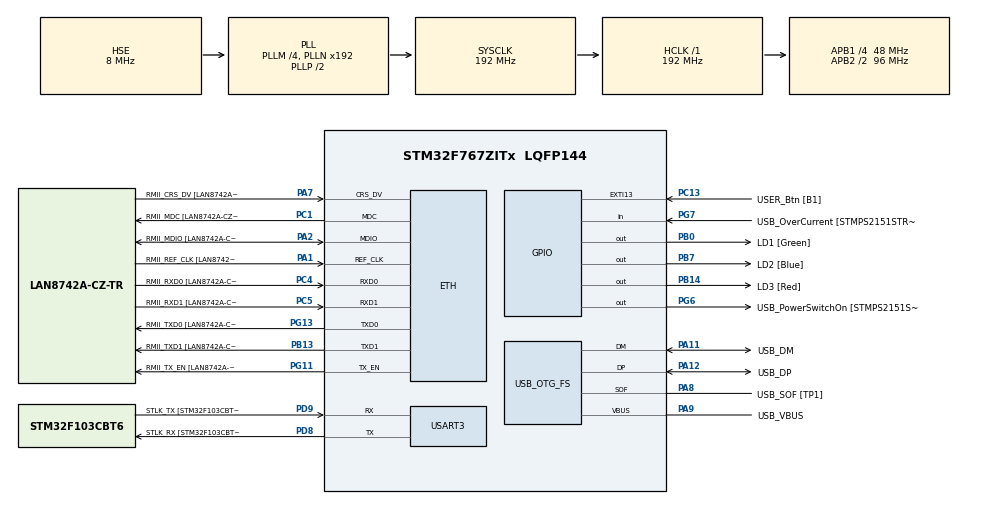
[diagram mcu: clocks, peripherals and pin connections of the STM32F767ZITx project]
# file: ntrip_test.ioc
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CORTEX_M7.FlashInterface=AXI_Enabled
ETH.MediaInterface=HAL_ETH_RMII_MODE
ETH.PHY_Name=LAN8742A_PHY_ADDRESS
ETH.PHY_Value=0
ETH.PhyAddress=0
FREERTOS.BinarySemaphores01=NtripChange,Dynamic,NULL
FREERTOS.Tasks01=start_task,1,128,startup,Default,NULL,Static,start_taskBuffer,start_taskControlBlock
FREERTOS.configENABLE_FPU=1
FREERTOS.configTOTAL_HEAP_SIZE=81920
FREERTOS.configUSE_NEWLIB_REENTRANT=1
LWIP.BSP.number=1
LWIP.CMSIS_VERSION-Enabled=1
LWIP.Version=v2.1.2_Cube
LWIP0.BSP.STBoard=false
LWIP0.BSP.api=BSP_COMPONENT_DRIVER
LWIP0.BSP.component=LAN8742
LWIP0.BSP.instance=LAN8742
LWIP0.BSP.name=Driver_PHY
LWIP0.BSP.semaphore=S_LAN8742
LWIP0.BSP.solution=LAN8742
Mcu.Family=STM32F7
Mcu.Name=STM32F767ZITx
Mcu.Package=LQFP144
NVIC.ETH_IRQn=true\:6\:0\:true\:false\:true\:true\:true\:true\:true
NVIC.EXTI15_10_IRQn=true\:5\:0\:false\:false\:true\:true\:true\:true\:true
NVIC.PriorityGroup=NVIC_PRIORITYGROUP_4
NVIC.TIM8_TRG_COM_TIM14_IRQn=true\:5\:0\:true\:false\:true\:false\:false\:true\:true
NVIC.TimeBase=TIM8_TRG_COM_TIM14_IRQn
NVIC.TimeBaseIP=TIM14
PA1.GPIO_Label=RMII_REF_CLK [LAN8742A-CZ-TR_REFCLK0]
PA1.Mode=RMII
PA1.Signal=ETH_REF_CLK
PA10.GPIO_Label=USB_ID
PA10.Signal=USB_OTG_FS_ID
PA11.GPIO_Label=USB_DM
PA11.Mode=Device_Only
PA11.Signal=USB_OTG_FS_DM
PA12.GPIO_Label=USB_DP
PA12.Mode=Device_Only
PA12.Signal=USB_OTG_FS_DP
PA13.GPIO_Label=TMS
PA13.Mode=Serial_Wire
PA13.Signal=SYS_JTMS-SWDIO
PA14.GPIO_Label=TCK
PA14.Mode=Serial_Wire
PA14.Signal=SYS_JTCK-SWCLK
PA2.GPIO_Label=RMII_MDIO [LAN8742A-CZ-TR_MDIO]
PA2.Mode=RMII
PA2.Signal=ETH_MDIO
PA7.GPIO_Label=RMII_CRS_DV [LAN8742A-CZ-TR_CRS_DV]
PA7.Mode=RMII
PA7.Signal=ETH_CRS_DV
PA8.GPIO_Label=USB_SOF [TP1]
PA8.Mode=Activate_SOF_FS
PA8.Signal=USB_OTG_FS_SOF
PA9.GPIO_Label=USB_VBUS
PA9.Mode=Activate_VBUS
PA9.Signal=USB_OTG_FS_VBUS
PB0.GPIO_Label=LD1 [Green]
PB0.Signal=GPIO_Output
PB13.GPIO_Label=RMII_TXD1 [LAN8742A-CZ-TR_TXD1]
PB13.Mode=RMII
PB13.Signal=ETH_TXD1
PB14.GPIO_Label=LD3 [Red]
PB14.Signal=GPIO_Output
PB3.GPIO_Label=SWO
PB3.Signal=SYS_JTDO-SWO
PB7.GPIO_Label=LD2 [Blue]
PB7.Signal=GPIO_Output
PC1.GPIO_Label=RMII_MDC [LAN8742A-CZ-TR_MDC]
PC1.Mode=RMII
PC1.Signal=ETH_MDC
PC13.GPIO_Label=USER_Btn [B1]
PC13.Signal=GPXTI13
PC14/OSC32_IN.Mode=LSE-External-Oscillator
PC14/OSC32_IN.Signal=RCC_OSC32_IN
PC15/OSC32_OUT.Mode=LSE-External-Oscillator
PC15/OSC32_OUT.Signal=RCC_OSC32_OUT
PC4.GPIO_Label=RMII_RXD0 [LAN8742A-CZ-TR_RXD0]
PC4.Mode=RMII
PC4.Signal=ETH_RXD0
PC5.GPIO_Label=RMII_RXD1 [LAN8742A-CZ-TR_RXD1]
PC5.Mode=RMII
PC5.Signal=ETH_RXD1
PD8.GPIO_Label=STLK_RX [STM32F103CBT6_PA3]
PD8.Mode=Asynchronous
PD8.Signal=USART3_TX
PD9.GPIO_Label=STLK_TX [STM32F103CBT6_PA2]
PD9.Mode=Asynchronous
PD9.Signal=USART3_RX
PG11.GPIO_Label=RMII_TX_EN [LAN8742A-CZ-TR_TXEN]
PG11.Mode=RMII
PG11.Signal=ETH_TX_EN
PG13.GPIO_Label=RMII_TXD0 [LAN8742A-CZ-TR_TXD0]
PG13.Mode=RMII
PG13.Signal=ETH_TXD0
PG6.GPIO_Label=USB_PowerSwitchOn [STMPS2151STR_EN]
PG6.Signal=GPIO_Output
PG7.GPIO_Label=USB_OverCurrent [STMPS2151STR_FAULT]
PG7.Signal=GPIO_Input
PH0/OSC_IN.GPIO_Label=MCO [STM32F103CBT6_PA8]
PH0/OSC_IN.Mode=HSE-External-Clock-Source
PH0/OSC_IN.Signal=RCC_OSC_IN
PH1/OSC_OUT.Mode=HSE-External-Clock-Source
PH1/OSC_OUT.Signal=RCC_OSC_OUT
ProjectManager.HeapSize=0x200
ProjectManager.StackSize=0x400
ProjectManager.TargetToolchain=STM32CubeIDE
RCC.48MHZClocksFreq_Value=24000000
RCC.AHBFreq_Value=192000000
RCC.APB1CLKDivider=RCC_HCLK_DIV4
RCC.APB1Freq_Value=48000000
RCC.APB1TimFreq_Value=96000000
RCC.APB2CLKDivider=RCC_HCLK_DIV2
RCC.APB2Freq_Value=96000000
RCC.APB2TimFreq_Value=192000000
RCC.CortexFreq_Value=192000000
RCC.HCLKFreq_Value=192000000
RCC.HSE_VALUE=8000000
RCC.HSI_VALUE=16000000
RCC.PLLM=4
RCC.PLLMUL=RCC_PLL_MUL9
RCC.PLLQ=8
RCC.PRESCALERUSB=RCC_USBCLKSOURCE_PLL_DIV1_5
RCC.SYSCLKFreq_VALUE=192000000
RCC.SYSCLKSource=RCC_SYSCLKSOURCE_PLLCLK
RCC.SYSCLKSourceVirtual=RCC_SYSCLKSOURCE_PLLCLK
RCC.USBFreq_Value=48000000
RCC.VCOOutputFreq_Value=384000000
USART3.VirtualMode-Asynchronous=VM_ASYNC
USB_OTG_FS.VirtualMode=Device_Only
VP_CRC_VS_CRC.Mode=CRC_Activate
VP_FREERTOS_VS_CMSIS_V1.Mode=CMSIS_V1
VP_LWIP_VS_Enabled.Mode=Enabled
VP_SYS_VS_tim14.Mode=TIM14
board=NUCLEO-F767ZI

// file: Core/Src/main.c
/* USER CODE BEGIN Header */
/**
  ******************************************************************************
  * @file           : main.c
  * @brief          : Main program body
  ******************************************************************************
  * @attention
  *
  * Copyright (c) 2023 STMicroelectronics.
  * All rights reserved.
  *
  * This software is licensed under terms that can be found in the LICENSE file
  * in the root directory of this software component.
  * If no LICENSE file comes with this software, it is provided AS-IS.
  *
  ******************************************************************************
  */
/* USER CODE END Header */
#include "main.h"
#include "cmsis_os.h"
#include "crc.h"
#include "lwip.h"
#include "usart.h"
#include "usb_otg.h"
#include "gpio.h"

void SystemClock_Config(void);
void MX_FREERTOS_Init(void);

int main(void)
{

  /* MCU Configuration--------------------------------------------------------*/

  /* Reset of all peripherals, Initializes the Flash interface and the Systick. */
  HAL_Init();

  /* Configure the system clock */
  SystemClock_Config();

  /* Initialize all configured peripherals */
  MX_GPIO_Init();
  MX_USART3_UART_Init();
  MX_USB_OTG_FS_PCD_Init();
  MX_CRC_Init();

  /* Call init function for freertos objects (in freertos.c) */
  MX_FREERTOS_Init();

  /* Start scheduler */
  osKernelStart();
  /* We should never get here as control is now taken by the scheduler */
  /* Infinite loop */
  while (1)
  {

  }
}

void SystemClock_Config(void)
{
  RCC_OscInitTypeDef RCC_OscInitStruct = {0};
  RCC_ClkInitTypeDef RCC_ClkInitStruct = {0};

  /** Configure LSE Drive Capability
  */
  HAL_PWR_EnableBkUpAccess();

  /** Configure the main internal regulator output voltage
  */
  __HAL_RCC_PWR_CLK_ENABLE();
  __HAL_PWR_VOLTAGESCALING_CONFIG(PWR_REGULATOR_VOLTAGE_SCALE1);

  /** Initializes the RCC Oscillators according to the specified parameters
  * in the RCC_OscInitTypeDef structure.
  */
  RCC_OscInitStruct.OscillatorType = RCC_OSCILLATORTYPE_HSE;
  RCC_OscInitStruct.HSEState = RCC_HSE_BYPASS;
  RCC_OscInitStruct.PLL.PLLState = RCC_PLL_ON;
  RCC_OscInitStruct.PLL.PLLSource = RCC_PLLSOURCE_HSE;
  RCC_OscInitStruct.PLL.PLLM = 4;
  RCC_OscInitStruct.PLL.PLLN = 192;
  RCC_OscInitStruct.PLL.PLLP = RCC_PLLP_DIV2;
  RCC_OscInitStruct.PLL.PLLQ = 8;
  RCC_OscInitStruct.PLL.PLLR = 2;
  if (HAL_RCC_OscConfig(&RCC_OscInitStruct) != HAL_OK)
  {
    Error_Handler();
  }

  /** Activate the Over-Drive mode
  */
  if (HAL_PWREx_EnableOverDrive() != HAL_OK)
  {
    Error_Handler();
  }

  /** Initializes the CPU, AHB and APB buses clocks
  */
  RCC_ClkInitStruct.ClockType = RCC_CLOCKTYPE_HCLK|RCC_CLOCKTYPE_SYSCLK
                              |RCC_CLOCKTYPE_PCLK1|RCC_CLOCKTYPE_PCLK2;
  RCC_ClkInitStruct.SYSCLKSource = RCC_SYSCLKSOURCE_PLLCLK;
  RCC_ClkInitStruct.AHBCLKDivider = RCC_SYSCLK_DIV1;
  RCC_ClkInitStruct.APB1CLKDivider = RCC_HCLK_DIV4;
  RCC_ClkInitStruct.APB2CLKDivider = RCC_HCLK_DIV2;

  if (HAL_RCC_ClockConfig(&RCC_ClkInitStruct, FLASH_LATENCY_6) != HAL_OK)
  {
    Error_Handler();
  }
}

/* USER CODE BEGIN 4 */
int __io_putchar(int ch)
{
 // Write character to ITM ch.0
 ITM_SendChar(ch);
 return(ch);
}
/* USER CODE END 4 */

void HAL_TIM_PeriodElapsedCallback(TIM_HandleTypeDef *htim)
{
  if (htim->Instance == TIM14) {
    HAL_IncTick();
  }
}

void Error_Handler(void)
{
  __disable_irq();
  while (1)
  {
  }
}

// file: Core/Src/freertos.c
/* USER CODE BEGIN Header */
/**
  ******************************************************************************
  * File Name          : freertos.c
  * Description        : Code for freertos applications
  ******************************************************************************
  * @attention
  *
  * Copyright (c) 2023 STMicroelectronics.
  * All rights reserved.
  *
  * This software is licensed under terms that can be found in the LICENSE file
  * in the root directory of this software component.
  * If no LICENSE file comes with this software, it is provided AS-IS.
  *
  ******************************************************************************
  */
/* USER CODE END Header */

#include "FreeRTOS.h"
#include "task.h"
#include "main.h"
#include "cmsis_os.h"

/* USER CODE BEGIN Includes */
#include "api.h"
#include "dhcp.h"
#include "netif.h"
#include "ntrip.h"
#include <stdio.h>
/* USER CODE END Includes */

/* USER CODE BEGIN Variables */
extern struct netif gnetif;  // lwip.c
extern UART_HandleTypeDef huart3; // usart.c

/******************************Configurations**********************************/
uint8_t pui8IpAddr[4] = {192, 168, 10, 102};
uint16_t ui16Port = 2101;
uint16_t ui16LocalPort = 12345;
char sMountpoint[20] = "TEST";
char sUsername[20] = "username";
char sPassword[20] = "password";
/******************************Configurations*END******************************/
uint8_t bNtripRun = 1;
uint8_t pui8Data[1024] = {0};
uint8_t ui8DataLength = 0;

osThreadId ntripHandle;
osThreadId blinkHandle;

/* USER CODE END Variables */
osThreadId start_taskHandle;
uint32_t start_taskBuffer[ 128 ];
osStaticThreadDef_t start_taskControlBlock;
osSemaphoreId NtripChangeHandle;

/* USER CODE BEGIN FunctionPrototypes */
void ntrip_process(void const * argument);
void blink_process(void const * argument);

/* USER CODE END FunctionPrototypes */

void startup(void const * argument);

extern void MX_LWIP_Init(void);
void MX_FREERTOS_Init(void); /* (MISRA C 2004 rule 8.1) */

/* GetIdleTaskMemory prototype (linked to static allocation support) */
void vApplicationGetIdleTaskMemory( StaticTask_t **ppxIdleTaskTCBBuffer, StackType_t **ppxIdleTaskStackBuffer, uint32_t *pulIdleTaskStackSize );

/* USER CODE BEGIN GET_IDLE_TASK_MEMORY */
static StaticTask_t xIdleTaskTCBBuffer;
static StackType_t xIdleStack[configMINIMAL_STACK_SIZE];

void vApplicationGetIdleTaskMemory( StaticTask_t **ppxIdleTaskTCBBuffer, StackType_t **ppxIdleTaskStackBuffer, uint32_t *pulIdleTaskStackSize )
{
  *ppxIdleTaskTCBBuffer = &xIdleTaskTCBBuffer;
  *ppxIdleTaskStackBuffer = &xIdleStack[0];
  *pulIdleTaskStackSize = configMINIMAL_STACK_SIZE;
  /* place for user code */
}
/* USER CODE END GET_IDLE_TASK_MEMORY */

void MX_FREERTOS_Init(void) {

  /* Create the semaphores(s) */
  /* definition and creation of NtripChange */
  osSemaphoreDef(NtripChange);
  NtripChangeHandle = osSemaphoreCreate(osSemaphore(NtripChange), 1);

  /* Create the thread(s) */
  /* definition and creation of start_task */
  osThreadStaticDef(start_task, startup, osPriorityAboveNormal, 0, 128, start_taskBuffer, &start_taskControlBlock);
  start_taskHandle = osThreadCreate(osThread(start_task), NULL);

}

void startup(void const * argument)
{
  /* init code for LWIP */
  MX_LWIP_Init();
  /* USER CODE BEGIN startup */
  while (!dhcp_supplied_address(&gnetif))
  {
    HAL_GPIO_WritePin(GPIOB, LD3_Pin, GPIO_PIN_SET);
    osDelay(1000);
  }
  HAL_GPIO_WritePin(GPIOB, LD3_Pin, GPIO_PIN_RESET);

  int32_t i32SemaphoreStatus = osOK;

  /* Infinite loop */
  for(;;)
  {
    i32SemaphoreStatus = osSemaphoreWait(NtripChangeHandle, 10000);
    if (i32SemaphoreStatus == osOK)
    {
      if (bNtripRun == 0)
      {
	osThreadTerminate(blinkHandle);
	HAL_GPIO_WritePin(GPIOB, LD1_Pin, GPIO_PIN_RESET);
	HAL_GPIO_WritePin(GPIOB, LD2_Pin, GPIO_PIN_RESET);
	HAL_GPIO_WritePin(GPIOB, LD3_Pin, GPIO_PIN_RESET);
      }
      else
      {
	osThreadDef(ntrip, ntrip_process, osPriorityHigh, 0, 2048);
	ntripHandle = osThreadCreate(osThread(ntrip), NULL);
	osThreadDef(blink, blink_process, osPriorityNormal, 0, 128);
	blinkHandle = osThreadCreate(osThread(blink), NULL);
	HAL_GPIO_WritePin(GPIOB, LD1_Pin, GPIO_PIN_SET);
      }
    }
  }
  /* USER CODE END startup */
}

/* USER CODE BEGIN Application */
void ntrip_process(void const * argument)
{
  struct netconn* pxConn;
  struct netbuf* pxRxBuf;
  err_t xErr;

  ip_addr_t xLocalIp = gnetif.ip_addr;
  char* sLocalIp = ipaddr_ntoa(&xLocalIp);
  ip_addr_t xServerIp;
  IP4_ADDR(&xServerIp, pui8IpAddr[0], pui8IpAddr[1], pui8IpAddr[2], pui8IpAddr[3]);

  pxConn = netconn_new(NETCONN_TCP);
  if (pxConn != NULL)
  {
    xErr = netconn_bind(pxConn, &xLocalIp, ui16LocalPort);
    if (xErr != ERR_OK)
    {
      printf("TCP bind err\n");
    }
    xErr = netconn_connect(pxConn, &xServerIp, ui16Port);
    if (xErr != ERR_OK)
    {
      printf("TCP Connect err\n");
    }

    ui8DataLength = sprintf((char*)pui8Data,
			    "GET /%s HTTP/1.1\r\n"
			    "Host: %s\r\n"
			    "NTRIP-Version: Ntrip/2.0\r\n"
			    "User-Agent: NTRIPstm32/TEST\r\n"
			    "Connection: close\r\n"
			    "Authorization: Basic ",
			    sMountpoint,
			    sLocalIp);
    ui8DataLength += encode((char*)pui8Data+ui8DataLength, 512-ui8DataLength-4, sUsername, sPassword);
    ui8DataLength += sprintf((char*)pui8Data+ui8DataLength, "\r\n\r\n");

    xErr = netconn_write(pxConn, (void*)pui8Data, ui8DataLength, NETCONN_COPY);
    if (xErr != ERR_OK)
    {
      printf("TCP write err\n");
    }
  }
  while(bNtripRun)
  {
    xErr = netconn_recv(pxConn, &pxRxBuf);
    if (xErr == ERR_OK)
    {
      do
      {
	HAL_UART_Transmit(&huart3, pxRxBuf->p->payload, pxRxBuf->p->len, 1000);
      }
      while (netbuf_next(pxRxBuf) >0);
      netbuf_delete(pxRxBuf);
      HAL_GPIO_TogglePin(GPIOB, LD2_Pin);
    }
    else
    {
      printf("receive err: %X", (int)xErr);
    }
  }
  netconn_close(pxConn);
  netconn_delete(pxConn);
  HAL_GPIO_WritePin(GPIOB, LD2_Pin, GPIO_PIN_RESET);
  osThreadTerminate(NULL);
}

void blink_process(void const * argument)
{
  while(1)
  {
    HAL_GPIO_TogglePin(GPIOB, LD3_Pin);
    osDelay(1000);
  }
}

void HAL_GPIO_EXTI_Callback(uint16_t GPIO_Pin)
{
  if (GPIO_Pin == USER_Btn_Pin)
  {
    if (bNtripRun)
      bNtripRun = 0;
    else
      bNtripRun = 1;
    osSemaphoreRelease(NtripChangeHandle);
  }
}
/* USER CODE END Application */
